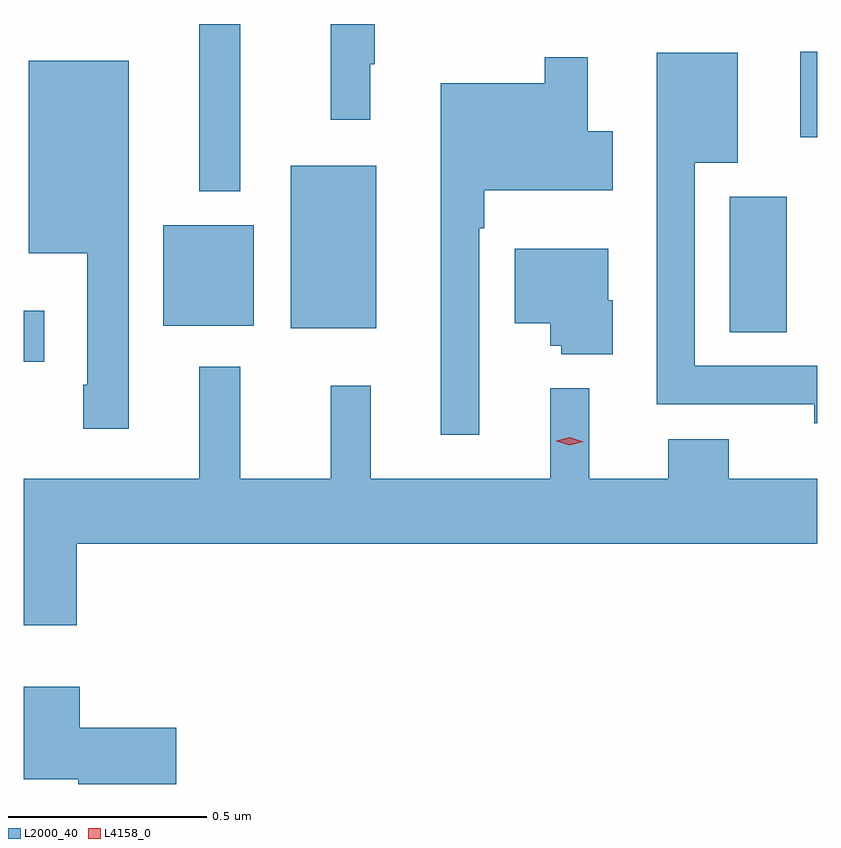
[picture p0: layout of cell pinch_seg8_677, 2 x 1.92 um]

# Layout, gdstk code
import gdstk
lib = gdstk.Library(unit=1e-6, precision=1e-09)
def R(c, l, rs):  # rectangles x0, y0, x1, y1
    for r in rs: c.add(gdstk.rectangle(r[:2], r[2:], *l))
def P(c, l, *ps):  # polygons
    for p in ps: c.add(gdstk.Polygon(p, *l))
L2000_40 = (2000, 40)
L4158_0 = (4158, 0)

pinch_seg8_677 = lib.new_cell('pinch_seg8_677')
R(pinch_seg8_677, L2000_40, [(328.297,1086.322,328.348,1086.451), (330.077,1086.397,330.22,1086.739), (328.97,1086.407,329.185,1086.817), (328.649,1086.413,328.876,1086.667), (328.739,1086.752,328.843,1087.174), (330.254,1086.889,330.297,1087.104)])
P(pinch_seg8_677, L2000_40, [(329.17,1087.073),(329.182,1087.073),(329.182,1087.174),(329.071,1087.174),(329.071,1086.933),(329.17,1086.933)],
  [(330.297,1086.312),(329.988,1086.312),(329.988,1086.824),(330.097,1086.824),(330.097,1087.102),(329.892,1087.102),(329.892,1086.216),(330.29,1086.216),(330.29,1086.167),(330.297,1086.167)],
  [(329.445,1086.659),(329.458,1086.659),(329.458,1086.755),(329.782,1086.755),(329.782,1086.903),(329.719,1086.903),(329.719,1087.09),(329.61,1087.09),(329.61,1087.024),(329.348,1087.024),(329.348,1086.138),(329.445,1086.138)],
  [(328.561,1087.081),(328.31,1087.081),(328.31,1086.596),(328.457,1086.596),(328.457,1086.265),(328.447,1086.265),(328.447,1086.153),(328.561,1086.153)],
  [(329.782,1086.477),(329.77,1086.477),(329.77,1086.607),(329.534,1086.607),(329.534,1086.419),(329.624,1086.419),(329.624,1086.363),(329.652,1086.363),(329.652,1086.341),(329.782,1086.341)],
  [(330.297,1086.028),(330.074,1086.028),(330.074,1086.127),(329.921,1086.127),(329.921,1086.028),(329.722,1086.028),(329.722,1086.256),(329.624,1086.256),(329.624,1086.028),(329.171,1086.028),(329.171,1086.262),(329.071,1086.262),(329.071,1086.028),(328.843,1086.028),(328.843,1086.31),(328.739,1086.31),(328.739,1086.028),(328.297,1086.028),(328.297,1085.658),(328.43,1085.658),(328.43,1085.864),(330.297,1085.864)],
  [(328.681,1085.4),(328.438,1085.4),(328.438,1085.503),(328.297,1085.503),(328.297,1085.27),(328.434,1085.27),(328.434,1085.258),(328.681,1085.258)])
P(pinch_seg8_677, L4158_0, [(329.673,1086.112),(329.639,1086.122),(329.639,1086.122),(329.639,1086.123),(329.673,1086.132),(329.707,1086.121),(329.707,1086.121),(329.707,1086.121)])

lib.write_gds('pinch_seg8_677.gds')
